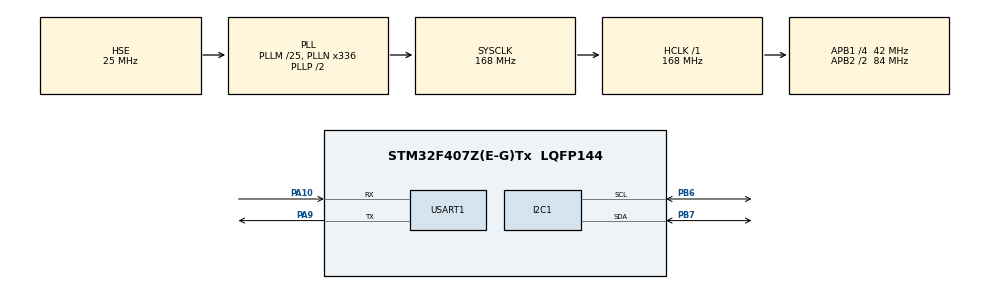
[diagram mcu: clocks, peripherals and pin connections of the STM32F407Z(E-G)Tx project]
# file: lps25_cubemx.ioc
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Mcu.Family=STM32F4
Mcu.Name=STM32F407Z(E-G)Tx
Mcu.Package=LQFP144
NVIC.PriorityGroup=NVIC_PRIORITYGROUP_4
PA10.Mode=Asynchronous
PA10.Signal=USART1_RX
PA9.Mode=Asynchronous
PA9.Signal=USART1_TX
PB6.Mode=I2C
PB6.Signal=I2C1_SCL
PB7.Mode=I2C
PB7.Signal=I2C1_SDA
PH0-OSC_IN.Mode=HSE-External-Oscillator
PH0-OSC_IN.Signal=RCC_OSC_IN
PH1-OSC_OUT.Mode=HSE-External-Oscillator
PH1-OSC_OUT.Signal=RCC_OSC_OUT
ProjectManager.HeapSize=0x200
ProjectManager.StackSize=0x400
ProjectManager.TargetToolchain=STM32CubeIDE
RCC.48MHZClocksFreq_Value=84000000
RCC.AHBFreq_Value=168000000
RCC.APB1CLKDivider=RCC_HCLK_DIV4
RCC.APB1Freq_Value=42000000
RCC.APB1TimFreq_Value=84000000
RCC.APB2CLKDivider=RCC_HCLK_DIV2
RCC.APB2Freq_Value=84000000
RCC.APB2TimFreq_Value=168000000
RCC.CortexFreq_Value=168000000
RCC.HCLKFreq_Value=168000000
RCC.HSE_VALUE=25000000
RCC.HSI_VALUE=16000000
RCC.LSE_VALUE=32768
RCC.PLLM=25
RCC.PLLN=336
RCC.PLLSourceVirtual=RCC_PLLSOURCE_HSE
RCC.SYSCLKFreq_VALUE=168000000
RCC.SYSCLKSource=RCC_SYSCLKSOURCE_PLLCLK
RCC.VCOOutputFreq_Value=336000000
USART1.VirtualMode=VM_ASYNC
board=custom

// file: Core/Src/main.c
/* USER CODE BEGIN Header */
/**
  ******************************************************************************
  * @file           : main.c
  * @brief          : Main program body
  ******************************************************************************
  * @attention
  *
  * Copyright (c) 2026 STMicroelectronics.
  * All rights reserved.
  *
  * This software is licensed under terms that can be found in the LICENSE file
  * in the root directory of this software component.
  * If no LICENSE file comes with this software, it is provided AS-IS.
  *
  ******************************************************************************
  */
/* USER CODE END Header */
#include "main.h"

/* USER CODE BEGIN Includes */
#include <stdio.h>
#include <string.h>
#include "test_sensor_LPS25H.h"
/* USER CODE END Includes */

/* USER CODE BEGIN PD */

#define LPS25H_SLAVE_ADDRESS (0x5D << 1)

#define COUNT_AVERAGE_VAL 1000

/* USER CODE END PD */

I2C_HandleTypeDef hi2c1;

UART_HandleTypeDef huart1;

void SystemClock_Config(void);
static void MX_GPIO_Init(void);
static void MX_I2C1_Init(void);
static void MX_USART1_UART_Init(void);

/* USER CODE BEGIN 0 */
static uint8_t LPS25H_Buffer_Tx1[100];

#define hUART           huart1
int _write( int32_t file , uint8_t *ptr , int32_t len )
{
    /* Implement your write code here, this is used by puts and printf for example */
    for ( int16_t i = 0 ; i < len ; ++i )
    {
        HAL_UART_Transmit( &hUART, ptr++, 1, 100);
    }
    return len;
}

uint8_t SENSOR_LPS25H_Read_Bytes(uint8_t devAddr, uint8_t regAddr, uint8_t length, uint8_t *data)
{
	HAL_StatusTypeDef  i2cRW_status;

    i2cRW_status = HAL_I2C_Master_Transmit(&hi2c1, devAddr, &regAddr, 1, 1000);
    if(HAL_OK != i2cRW_status)
    {
    	printf("Write error:%d\r\n", i2cRW_status);
        return 0;
    }

    i2cRW_status = HAL_I2C_Master_Receive(&hi2c1, devAddr, data, length, 1000);
    if(HAL_OK != i2cRW_status)
    {
    	printf("Read error:%d\r\n", i2cRW_status);
        return 0;
    }

    return length;
}

int8_t SENSOR_LPS25H_Write_Bytes(uint8_t devAddr, uint8_t regAddr, uint8_t length, uint8_t *data)
{
	HAL_StatusTypeDef  i2cRW_status;

    LPS25H_Buffer_Tx1[0] = regAddr;
    memcpy(&LPS25H_Buffer_Tx1[1], data, length);

    i2cRW_status = HAL_I2C_Master_Transmit(&hi2c1, devAddr, LPS25H_Buffer_Tx1, length + 1, 1000);
    if(HAL_OK != i2cRW_status)
    {
    	printf("Write error:%d\r\n", i2cRW_status);
        return -1;
    }

    return 0;
}

/**
 * @brief  Set the slave address according to SA0 bit.
 * @param  SA0_Bit_Status: LPS25H_SA0_LOW or LPS25H_SA0_HIGH
 * @retval None
 */
void LPS25H_Init(void)
{
    uint8_t dataVal = 0x00;
    uint8_t dataValRead = 0x00;

    //PowerOn
    dataVal|= LPS25H_MODE_ACTIVE;
    /* Output Data Rate selection */
    dataVal |= LPS25H_ODR_25Hz;        //Output Data Rate: P - 25Hz, T - 25H
    /* Interrupt circuit selection */
    dataVal |= LPS25H_DIFF_ENABLE;     //interrupt circuit enabled
    /* Block Data Update selection */
    dataVal |= LPS25H_BDU_READ;        //output registers not updated until MSB and LSB reading
    /* Serial Interface Mode selection */
    dataVal |= LPS25H_SPI_SIM_3W;      //3-wire interface
    SENSOR_LPS25H_Write_Bytes(LPS25H_SLAVE_ADDRESS, LPS25H_CTRL_REG1_ADDR, 1, &dataVal);
    SENSOR_LPS25H_Read_Bytes(LPS25H_SLAVE_ADDRESS, LPS25H_CTRL_REG1_ADDR, 1, &dataValRead);
    printf("LPS25H_CTRL_REG1_ADDR init read : 0x%02X\r\n", dataValRead);
    dataVal = 0x00;
    dataVal |= LPS25H_P_RES_AVG_512;    //LPS25H Pressure resolution selection AVG_512
    dataVal |= LPS25H_T_RES_AVG_64;     //LPS25H Temperature resolution selection AVG_64
    SENSOR_LPS25H_Write_Bytes(LPS25H_SLAVE_ADDRESS, LPS25H_RES_CONF_ADDR, 1, &dataVal);
    SENSOR_LPS25H_Read_Bytes(LPS25H_SLAVE_ADDRESS, LPS25H_RES_CONF_ADDR, 1, &dataValRead);
    printf("LPS25H_RES_CONF_ADDR init read : 0x%02X\r\n", dataValRead);
}
/* USER CODE END 0 */

int main(void)
{

  /* USER CODE BEGIN 1 */
    uint8_t   dataVal[3];
    uint8_t   buffer[3]={0}, i;
    uint32_t  data32Val;
    int16_t   data16Val;

    uint32_t  k;

    float calcData;
    uint32_t  data32Val_sum;
  /* USER CODE END 1 */

  /* MCU Configuration--------------------------------------------------------*/

  /* Reset of all peripherals, Initializes the Flash interface and the Systick. */
  HAL_Init();

  /* Configure the system clock */
  SystemClock_Config();

  /* Initialize all configured peripherals */
  MX_GPIO_Init();
  MX_I2C1_Init();
  MX_USART1_UART_Init();
  /* USER CODE BEGIN 2 */
  printf("I2C-LPS25 test\r\n");

    HAL_Delay(1000);
    LPS25H_Init();
    HAL_Delay(300);
    SENSOR_LPS25H_Read_Bytes(LPS25H_SLAVE_ADDRESS, LPS25H_WHO_AM_I_ADDR, 1, dataVal);
    printf("Device id : 0x%02X\r\n", dataVal[0]);

  /* USER CODE END 2 */

  /* Infinite loop */
  /* USER CODE BEGIN WHILE */
  while (1)
  {
	data32Val = 0;
	data32Val_sum = 0;

	HAL_Delay(1000);
	for(k = 0; k < COUNT_AVERAGE_VAL; k ++)
	{
		/*
		The device is a slave with 1 byte sub-address which MSB should be ‘1’ to enable the
		multiple data read/write at increasing addresses (bit 7 = 1 enables I²C sub-address
		multi-byte auto-increment)
		*/
		SENSOR_LPS25H_Read_Bytes(LPS25H_SLAVE_ADDRESS, LPS25H_PRESS_POUT_XL_ADDR + 0x80, 3, buffer);

		/* Build the raw data */
		for(i = 0; i < 3; i ++)
		{
			data32Val |= (((uint32_t) buffer[i]) << (8 * i));
		}

		/* convert the 2's complement 24 bit to 2's complement 32 bit */
		if (data32Val & 0x00800000)
		{
			data32Val |= 0xFF000000;
		}

		data32Val_sum += data32Val;

		HAL_Delay(1);
	}

	calcData = (float)data32Val_sum / COUNT_AVERAGE_VAL / 4096.0;

	printf("Pressure: %5.2f hPa\r\n", calcData);

	data16Val=0;

	/*
	 * @brief Read LPS25H output register, and calculate the raw temperature.
	 * @param int16_t *raw_data: temperature raw value.
	 * @retval LPS25H_ERROR or LPS25H_OK.
	 */
	SENSOR_LPS25H_Read_Bytes(LPS25H_SLAVE_ADDRESS, LPS25H_TEMP_OUT_L_ADDR + 0x80, 2, buffer);

	data16Val = (((int16_t)buffer[1]) << 8) + (int16_t)buffer[0];

	calcData = (((float)data16Val/480.0) + 42.5);
	printf("Temperature: %f°C\r\n", calcData);
    /* USER CODE END WHILE */

  }
}

void SystemClock_Config(void)
{
  RCC_OscInitTypeDef RCC_OscInitStruct = {0};
  RCC_ClkInitTypeDef RCC_ClkInitStruct = {0};

  /** Configure the main internal regulator output voltage
  */
  __HAL_RCC_PWR_CLK_ENABLE();
  __HAL_PWR_VOLTAGESCALING_CONFIG(PWR_REGULATOR_VOLTAGE_SCALE1);

  /** Initializes the RCC Oscillators according to the specified parameters
  * in the RCC_OscInitTypeDef structure.
  */
  RCC_OscInitStruct.OscillatorType = RCC_OSCILLATORTYPE_HSE;
  RCC_OscInitStruct.HSEState = RCC_HSE_ON;
  RCC_OscInitStruct.PLL.PLLState = RCC_PLL_ON;
  RCC_OscInitStruct.PLL.PLLSource = RCC_PLLSOURCE_HSE;
  RCC_OscInitStruct.PLL.PLLM = 25;
  RCC_OscInitStruct.PLL.PLLN = 336;
  RCC_OscInitStruct.PLL.PLLP = RCC_PLLP_DIV2;
  RCC_OscInitStruct.PLL.PLLQ = 4;
  if (HAL_RCC_OscConfig(&RCC_OscInitStruct) != HAL_OK)
  {
    Error_Handler();
  }

  /** Initializes the CPU, AHB and APB buses clocks
  */
  RCC_ClkInitStruct.ClockType = RCC_CLOCKTYPE_HCLK|RCC_CLOCKTYPE_SYSCLK
                              |RCC_CLOCKTYPE_PCLK1|RCC_CLOCKTYPE_PCLK2;
  RCC_ClkInitStruct.SYSCLKSource = RCC_SYSCLKSOURCE_PLLCLK;
  RCC_ClkInitStruct.AHBCLKDivider = RCC_SYSCLK_DIV1;
  RCC_ClkInitStruct.APB1CLKDivider = RCC_HCLK_DIV4;
  RCC_ClkInitStruct.APB2CLKDivider = RCC_HCLK_DIV2;

  if (HAL_RCC_ClockConfig(&RCC_ClkInitStruct, FLASH_LATENCY_5) != HAL_OK)
  {
    Error_Handler();
  }
}

static void MX_I2C1_Init(void)
{

  hi2c1.Instance = I2C1;
  hi2c1.Init.ClockSpeed = 100000;
  hi2c1.Init.DutyCycle = I2C_DUTYCYCLE_2;
  hi2c1.Init.OwnAddress1 = 0;
  hi2c1.Init.AddressingMode = I2C_ADDRESSINGMODE_7BIT;
  hi2c1.Init.DualAddressMode = I2C_DUALADDRESS_DISABLE;
  hi2c1.Init.OwnAddress2 = 0;
  hi2c1.Init.GeneralCallMode = I2C_GENERALCALL_DISABLE;
  hi2c1.Init.NoStretchMode = I2C_NOSTRETCH_DISABLE;
  if (HAL_I2C_Init(&hi2c1) != HAL_OK)
  {
    Error_Handler();
  }

}

static void MX_USART1_UART_Init(void)
{

  huart1.Instance = USART1;
  huart1.Init.BaudRate = 115200;
  huart1.Init.WordLength = UART_WORDLENGTH_8B;
  huart1.Init.StopBits = UART_STOPBITS_1;
  huart1.Init.Parity = UART_PARITY_NONE;
  huart1.Init.Mode = UART_MODE_TX_RX;
  huart1.Init.HwFlowCtl = UART_HWCONTROL_NONE;
  huart1.Init.OverSampling = UART_OVERSAMPLING_16;
  if (HAL_UART_Init(&huart1) != HAL_OK)
  {
    Error_Handler();
  }

}

static void MX_GPIO_Init(void)
{

  /* GPIO Ports Clock Enable */
  __HAL_RCC_GPIOH_CLK_ENABLE();
  __HAL_RCC_GPIOA_CLK_ENABLE();
  __HAL_RCC_GPIOB_CLK_ENABLE();

}

void Error_Handler(void)
{
  __disable_irq();
  while (1)
  {
  }
}
